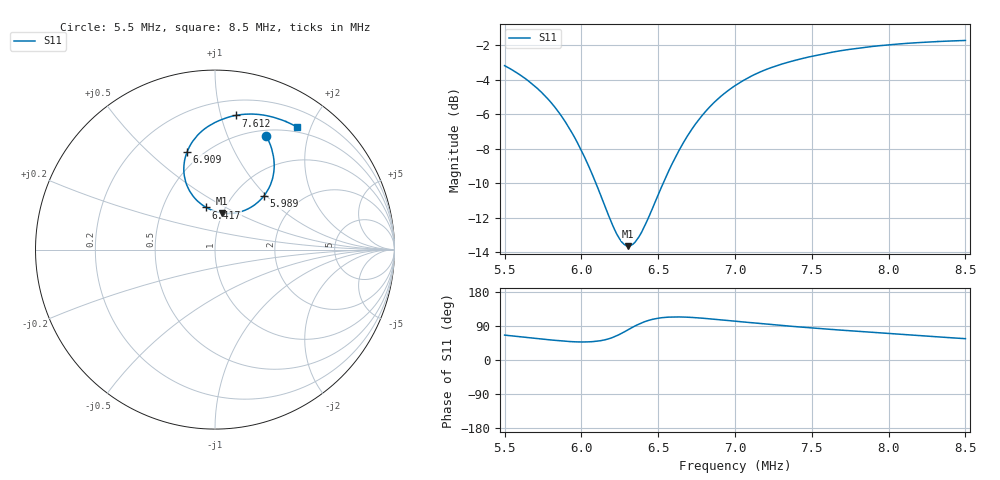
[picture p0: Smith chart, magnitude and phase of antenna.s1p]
! Calibrated high-resolution NanoVNA antenna measurement
# Hz S RI R 50
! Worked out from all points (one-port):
!   2001 points, 5.5 MHz to 8.5 MHz, reference 50 ohm
!   lowest |S11| = -13.7 dB at 6.304 MHz (marker M1), VSWR 1.52, Z = 49.3 + j21.1 ohm
!   |S11| at or under -10 dB: 6.094 MHz to 6.532 MHz (437.8 kHz wide, 6.93 % of centre)
!   S11 on the Smith chart (normalised r, x): 5.5 MHz: 0.57, +1.39; 5.989 MHz: 1.35, +0.96; 6.417 MHz: 0.82, +0.41; 6.909 MHz: 0.42, +0.67; 7.612 MHz: 0.32, +1.12; 8.5 MHz: 0.43, +1.79
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5500000  0.2856 0.6325
5614000  0.3149 0.5645
5708500  0.3281 0.5009
5794000  0.3284 0.4385
5875000  0.3149 0.3776
5989000  0.2711 0.2975
6059500  0.23 0.2564
6128500  0.1813 0.2255
6205000  0.12 0.2052
6250000  0.0819 0.2014
6277000  0.0591 0.2019
6304000  0.0366 0.2043
6355000  -0.00377 0.2148
6416500  -0.0488 0.2348
6523000  -0.1139 0.2877
6625000  -0.1549 0.3535
6689500  -0.1688 0.399
6758500  -0.1739 0.4475
6830500  -0.1696 0.4959
6908500  -0.1557 0.5438
7000000  -0.1312 0.5928
7180000  -0.0651 0.6669
7375000  0.0162 0.7158
7612000  0.1158 0.7476
7750000  0.1742 0.7546
7933000  0.2497 0.7524
8125000  0.3247 0.7377
8500000  0.4562 0.6831
